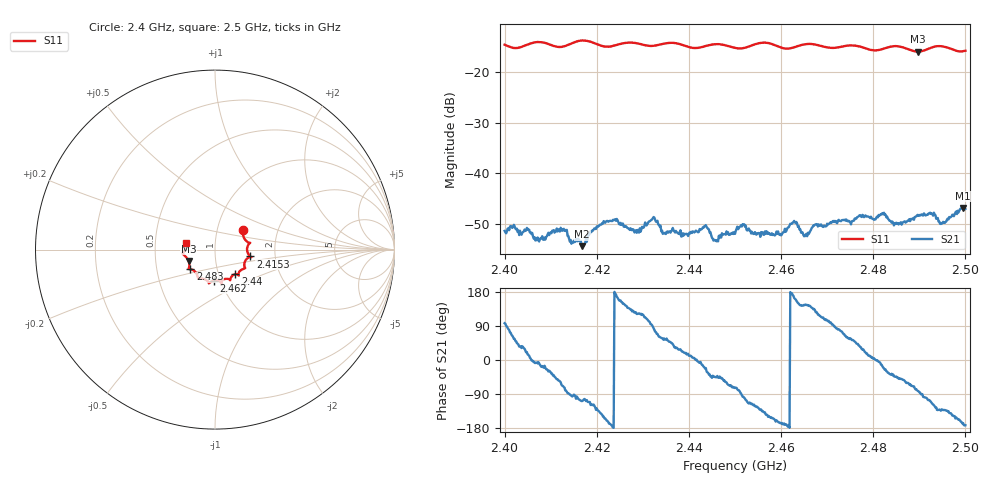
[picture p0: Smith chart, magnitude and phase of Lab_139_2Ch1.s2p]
# Hz S RI R 50
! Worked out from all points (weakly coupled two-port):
!   601 points, 2.4 GHz to 2.5 GHz, reference 50 ohm
!   highest |S21| = -46.90 dB at 2.4995 GHz (marker M1); lowest = -54.5 dB at 2.4168 GHz (marker M2)
!   lowest |S11| = -15.9 dB at 2.4897 GHz (marker M3), VSWR 1.38, Z = 36.9 - j4.82 ohm
!   |S11| at or under -10 dB: start of sweep to end of sweep
!   S12 and S22 are empty: the file has one direction only
!   S11 on the Smith chart (normalised r, x): 2.4 GHz: 1.33, +0.29; 2.4153 GHz: 1.48, -0.12; 2.44 GHz: 1.21, -0.34; 2.462 GHz: 0.93, -0.33; 2.483 GHz: 0.74, -0.17; 2.5 GHz: 0.72, +0.06
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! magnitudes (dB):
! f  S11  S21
! 2.4 GHz  -14.5  -51.5
! 2.4072 GHz  -14.0  -52.8
! 2.4127 GHz  -14.9  -51.2
! 2.4153 GHz  -14.0  -53.6
! 2.4167 GHz  -13.7  -54.0
! 2.4168 GHz  -13.7  -54.5
! 2.422 GHz  -14.9  -49.6
! 2.4287 GHz  -14.2  -51.8
! 2.4333 GHz  -14.6  -50.2
! 2.44 GHz  -15.0  -52.0
! 2.4435 GHz  -14.8  -50.5
! 2.4458 GHz  -14.4  -53.3
! 2.45 GHz  -15.1  -52.0
! 2.46 GHz  -15.1  -52.3
! 2.462 GHz  -15.2  -50.0
! 2.4667 GHz  -14.4  -50.8
! 2.483 GHz  -15.1  -48.6
! 2.4833 GHz  -15.0  -49.2
! 2.4897 GHz  -15.9  -48.3
! 2.495 GHz  -14.8  -49.9
! 2.4995 GHz  -15.8  -46.9
! 2.5 GHz  -15.7  -47.1
